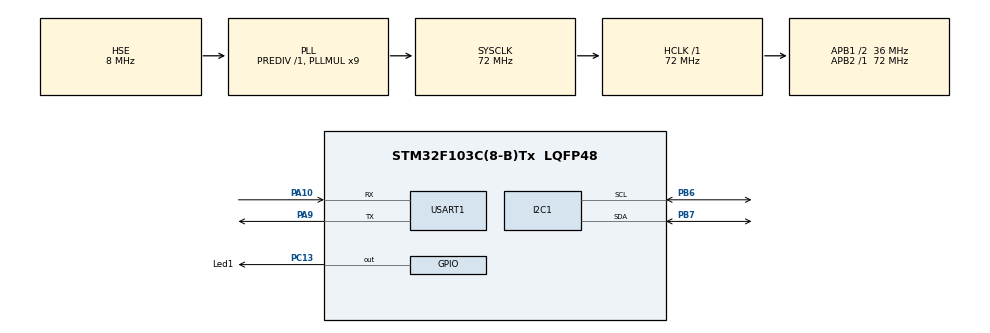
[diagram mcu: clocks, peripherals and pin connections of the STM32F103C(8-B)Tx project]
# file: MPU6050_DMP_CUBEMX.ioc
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I2C1.I2C_Mode=I2C_Fast
Mcu.Family=STM32F1
Mcu.Name=STM32F103C(8-B)Tx
Mcu.Package=LQFP48
NVIC.PriorityGroup=NVIC_PRIORITYGROUP_4
PA10.Mode=Asynchronous
PA10.Signal=USART1_RX
PA13.Mode=Serial_Wire
PA13.Signal=SYS_JTMS-SWDIO
PA14.Mode=Serial_Wire
PA14.Signal=SYS_JTCK-SWCLK
PA9.Mode=Asynchronous
PA9.Signal=USART1_TX
PB6.Mode=I2C
PB6.Signal=I2C1_SCL
PB7.Mode=I2C
PB7.Signal=I2C1_SDA
PC13-TAMPER-RTC.GPIO_Label=Led1
PC13-TAMPER-RTC.Signal=GPIO_Output
PD0-OSC_IN.Mode=HSE-External-Oscillator
PD0-OSC_IN.Signal=RCC_OSC_IN
PD1-OSC_OUT.Mode=HSE-External-Oscillator
PD1-OSC_OUT.Signal=RCC_OSC_OUT
ProjectManager.HeapSize=0x200
ProjectManager.StackSize=0x400
ProjectManager.TargetToolchain=MDK-ARM V5.32
RCC.AHBFreq_Value=72000000
RCC.APB1CLKDivider=RCC_HCLK_DIV2
RCC.APB1Freq_Value=36000000
RCC.APB1TimFreq_Value=72000000
RCC.APB2Freq_Value=72000000
RCC.APB2TimFreq_Value=72000000
RCC.HCLKFreq_Value=72000000
RCC.PLLMUL=RCC_PLL_MUL9
RCC.PLLSourceVirtual=RCC_PLLSOURCE_HSE
RCC.SYSCLKFreq_VALUE=72000000
RCC.SYSCLKSource=RCC_SYSCLKSOURCE_PLLCLK
RCC.USBFreq_Value=72000000
USART1.VirtualMode=VM_ASYNC
board=custom

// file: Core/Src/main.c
/* USER CODE BEGIN Header */
/**
  ******************************************************************************
  * @file           : main.c
  * @brief          : Main program body
  ******************************************************************************
  * @attention
  *
  * Copyright (c) 2024 STMicroelectronics.
  * All rights reserved.
  *
  * This software is licensed under terms that can be found in the LICENSE file
  * in the root directory of this software component.
  * If no LICENSE file comes with this software, it is provided AS-IS.
  *
  ******************************************************************************
  */
/* USER CODE END Header */
#include "main.h"
#include "i2c.h"
#include "usart.h"
#include "gpio.h"

/* USER CODE BEGIN Includes */
#include "stdio.h"//别忘了它
/* USER CODE END Includes */

/* USER CODE BEGIN PV */
int ret = 0;
float pitch,roll,yaw;
/* USER CODE END PV */

void SystemClock_Config(void);

/* USER CODE BEGIN 0 */

#ifdef __GNUC__ //�?查是否使�? GNU 编译器�??
#define PUTCHAR_PROTOTYPE int __io_putchar(int ch) //重定向函数__io_putchar：字符发送到标准输出设备
#else
#define PUTCHAR_PROTOTYPE int fputc(int ch, FILE *f)
#endif
/* USER CODE BEGIN 0 */
PUTCHAR_PROTOTYPE {
	//同样USART1改为你的串口
	HAL_UART_Transmit(&huart1, (uint8_t*) &ch, 1, HAL_MAX_DELAY);
	return ch;
}
/* USER CODE END 0 */

int main(void)
{

  /* MCU Configuration--------------------------------------------------------*/

  /* Reset of all peripherals, Initializes the Flash interface and the Systick. */
  HAL_Init();

  /* Configure the system clock */
  SystemClock_Config();

  /* Initialize all configured peripherals */
  MX_GPIO_Init();
  MX_I2C1_Init();
  MX_USART1_UART_Init();
  /* USER CODE BEGIN 2 */
while(w_mpu_init() != mpu_ok)
  {
	  printf("0x%x (ID_ERROR)\r\n", w_mpu_init());
		printf("a%.1fb%.1fc%.1f",mpu_pose_msg.pitch,mpu_pose_msg.roll,mpu_pose_msg.yaw);
	  HAL_Delay(100);
  }
	dmp_init();		//dmp��ʼ��
  /* USER CODE END 2 */

  /* Infinite loop */
  /* USER CODE BEGIN WHILE */
  while (1)
  {
		read_dmp(&mpu_pose_msg);//��ȡmpu��̬
		w_mpu_read_all_raw_data(&mpu_raw_msg); //��ȡmpu6050��ԭʼ����mpu_raw_msg.mpu_acce[0]
		printf("Pitch: %f\t ", mpu_pose_msg.pitch);
		printf("Roll:  %f\t ", mpu_pose_msg.roll);
		printf("Yaw:   %f\t ", mpu_pose_msg.yaw);
		printf("\r\n");
		HAL_Delay(100);
    /* USER CODE END WHILE */

  }
}

void SystemClock_Config(void)
{
  RCC_OscInitTypeDef RCC_OscInitStruct = {0};
  RCC_ClkInitTypeDef RCC_ClkInitStruct = {0};

  /** Initializes the RCC Oscillators according to the specified parameters
  * in the RCC_OscInitTypeDef structure.
  */
  RCC_OscInitStruct.OscillatorType = RCC_OSCILLATORTYPE_HSE;
  RCC_OscInitStruct.HSEState = RCC_HSE_ON;
  RCC_OscInitStruct.HSEPredivValue = RCC_HSE_PREDIV_DIV1;
  RCC_OscInitStruct.HSIState = RCC_HSI_ON;
  RCC_OscInitStruct.PLL.PLLState = RCC_PLL_ON;
  RCC_OscInitStruct.PLL.PLLSource = RCC_PLLSOURCE_HSE;
  RCC_OscInitStruct.PLL.PLLMUL = RCC_PLL_MUL9;
  if (HAL_RCC_OscConfig(&RCC_OscInitStruct) != HAL_OK)
  {
    Error_Handler();
  }

  /** Initializes the CPU, AHB and APB buses clocks
  */
  RCC_ClkInitStruct.ClockType = RCC_CLOCKTYPE_HCLK|RCC_CLOCKTYPE_SYSCLK
                              |RCC_CLOCKTYPE_PCLK1|RCC_CLOCKTYPE_PCLK2;
  RCC_ClkInitStruct.SYSCLKSource = RCC_SYSCLKSOURCE_PLLCLK;
  RCC_ClkInitStruct.AHBCLKDivider = RCC_SYSCLK_DIV1;
  RCC_ClkInitStruct.APB1CLKDivider = RCC_HCLK_DIV2;
  RCC_ClkInitStruct.APB2CLKDivider = RCC_HCLK_DIV1;

  if (HAL_RCC_ClockConfig(&RCC_ClkInitStruct, FLASH_LATENCY_2) != HAL_OK)
  {
    Error_Handler();
  }
}

void Error_Handler(void)
{
  __disable_irq();
  while (1)
  {
  }
}
